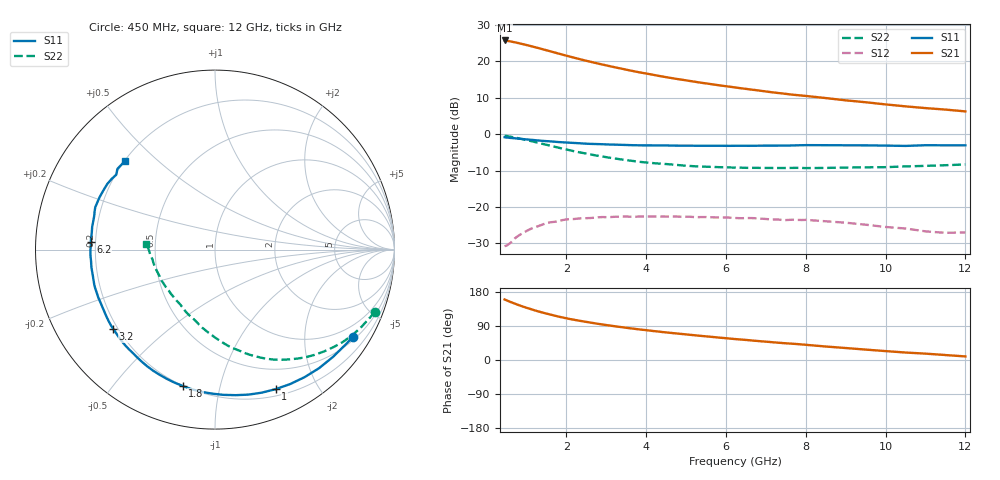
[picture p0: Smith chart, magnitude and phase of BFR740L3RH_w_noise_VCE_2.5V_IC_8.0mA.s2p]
! (c) 2012  Infineon Technologies AG, Munich
! Infineon Technologies  Discrete & RF Semiconductors
! BFR740L3RH
! VCE =  2.5 V,  IC =  8.0 mA
! Common Emitter S-Parameters:  May 2012
# GHz  S  MA  R  50
!  f  S11  S21  S12  S22
! GHz  MAG  ANG  MAG  ANG  MAG  ANG  MAG  ANG
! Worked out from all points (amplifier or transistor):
!   85 points, 450 MHz to 12 GHz, reference 50 ohm
!   highest |S21| = 25.7 dB at 450 MHz (marker M1)
!   |S21| within 3 dB of that: start of sweep to 1.604 GHz
!   unconditionally stable (mu >= 1): 8.532 GHz to end of sweep
!   at 1.8 GHz: K = 0.16, MSG = 23.0 dB, |S12| = -23.9 dB
!   at 4.6 GHz: K = 0.45, MSG = 19.1 dB, |S12| = -22.6 dB
!   at 12 GHz: K = 2.23, MAG = 10.4 dB, |S12| = -27.0 dB
!   lowest NFmin = 0.51 dB at 450 MHz
!   S11 on the Smith chart (normalised r, x): 450 MHz: 0.59, -3.35; 1 GHz: 0.27, -1.49; 1.8 GHz: 0.20, -0.77; 3.2 GHz: 0.18, -0.33; 6.2 GHz: 0.18, +0.03; 12 GHz: 0.20, +0.40
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0.45  0.9096 -32.4  19.38 159.8  0.029 70.0  0.9556 -21.3
0.6  0.8886 -42.3  18.78 153.1  0.0323 65.8  0.9231 -27.7
0.7  0.8789 -48.8  18.31 149.0  0.0369 61.9  0.9019 -31.9
0.8  0.8683 -55.0  17.8 145.0  0.0405 59.0  0.8789 -35.8
1  0.8477 -66.5  16.76 137.8  0.0469 53.3  0.8309 -43.1
1.2  0.8292 -77.0  15.73 131.2  0.0526 47.3  0.7835 -50.0
1.3  0.8192 -81.9  15.21 128.1  0.0548 44.1  0.7599 -53.1
1.5  0.803 -90.9  14.21 122.4  0.0602 39.9  0.7155 -59.1
1.8  0.7805 -103.4  12.8 114.6  0.0641 34.0  0.6532 -67.1
2.1  0.7626 -113.9  11.57 107.9  0.0681 29.4  0.5989 -74.0
2.4  0.7463 -123.0  10.5 102.2  0.0702 25.0  0.5542 -80.3
2.8  0.7312 -133.2  9.315 95.4  0.0723 20.1  0.5041 -87.6
3.2  0.7189 -142.1  8.326 89.3  0.0734 16.0  0.4653 -94.3
3.7  0.7055 -151.7  7.299 82.4  0.0734 11.6  0.4266 -102.1
4.3  0.7011 -160.9  6.346 75.1  0.074 8.4  0.396 -110.2
5.3  0.6937 -174.2  5.168 64.3  0.0726 2.6  0.3608 -122.9
6.2  0.6929 176.3  4.405 55.5  0.0709 -1.5  0.3487 -133.7
6.3  0.6934 175.2  4.33 54.6  0.0704 -2.0  0.3479 -134.8
7.3  0.6969 166.3  3.684 45.7  0.0674 -5.7  0.3436 -146.1
8.5  0.7064 155.8  3.134 35.6  0.0637 -10.0  0.3443 -158.6
10.5  0.6905 142.8  2.411 19.7  0.0507 -11.6  0.361 -174.9
12  0.7032 135.4  2.057 9.4  0.0448 -2.5  0.3841 175.1
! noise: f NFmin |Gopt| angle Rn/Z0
0.45  0.51  0.33  3  0.13
0.9  0.52  0.33  15  0.12
1.5  0.54  0.32  31  0.11
1.9  0.56  0.33  40  0.11
2.4  0.59  0.35  51  0.11
3.5  0.66  0.35  69  0.09
5.5  0.83  0.37  100  0.09
8  1.06  0.35  140  0.08
10  1.24  0.37  165  0.06
12  1.43  0.41  -161  0.06
